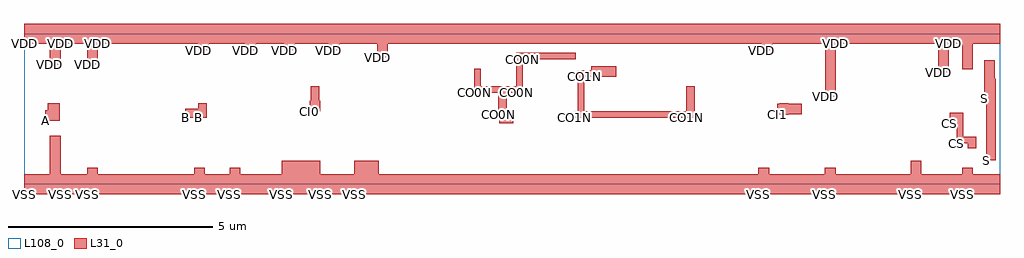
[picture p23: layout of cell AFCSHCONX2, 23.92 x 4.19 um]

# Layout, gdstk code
import gdstk
lib = gdstk.Library(unit=1e-6, precision=1e-09)
def R(c, l, rs):  # rectangles x0, y0, x1, y1
    for r in rs: c.add(gdstk.rectangle(r[:2], r[2:], *l))
L31_0 = (31, 0)
L108_0 = (108, 0)

afcshconx2 = lib.new_cell('AFCSHCONX2')
R(afcshconx2, L31_0, [(0,-0.25,0.635,0.25), (0.635,-0.25,0.895,1.195), (0.895,-0.25,1.55,0.25), (1.55,-0.25,1.81,0.405), (1.81,-0.25,4.17,0.25), (4.17,-0.25,4.43,0.405), (4.43,-0.25,5.04,0.25), (5.04,-0.25,5.3,0.405), (5.3,-0.25,6.32,0.25), (6.32,-0.25,7.26,0.575), (7.26,-0.25,8.09,0.25), (8.09,-0.25,8.69,0.575), (8.69,-0.25,18,0.25), (18,-0.25,18.26,0.405), (18.26,-0.25,19.63,0.25), (19.63,-0.25,19.89,0.405), (19.89,-0.25,21.73,0.25), (21.73,-0.25,21.99,0.575), (21.99,-0.25,22.995,0.25), (22.995,-0.25,23.255,0.405), (23.255,-0.25,23.92,0.25), (23.585,0.595,23.795,3.045), (23.795,0.595,23.815,2.585), (23.125,0.88,23.335,1.17), (22.855,1.01,23.015,1.755), (23.015,1.01,23.125,1.17), (11.65,1.49,11.835,2.4), (11.835,1.49,11.985,1.65), (22.685,1.495,22.855,1.755), (0.515,1.555,0.585,1.815), (0.585,1.555,0.875,1.99), (13.48,1.63,13.57,1.79), (13.57,1.63,13.73,2.79), (13.73,1.63,16.225,1.79), (16.225,1.63,16.41,2.4), (3.955,1.635,4.265,1.85), (4.265,1.635,4.475,1.99), (11.625,1.7,11.65,2.4), (16.41,1.7,16.435,2.4), (18.525,1.7,18.735,1.99), (18.46,1.715,18.525,1.975), (18.735,1.715,19.06,1.975), (7,1.79,7.025,2.05), (7.025,1.79,7.235,2.4), (7.235,1.79,7.26,2.05), (23.535,2.105,23.585,3.045), (19.64,2.15,19.9,3.94), (11.04,2.24,11.2,2.83), (11.2,2.24,11.625,2.4), (11.835,2.24,12.06,2.4), (12.06,2.24,12.22,3.22), (13.73,2.63,13.905,2.79), (13.905,2.63,14.515,2.89), (22.41,2.745,22.67,3.94), (22.995,2.825,23.255,3.94), (0.635,2.935,0.895,3.94), (1.545,2.945,1.805,3.94), (12.22,3.06,13.52,3.22), (8.655,3.115,8.915,3.94), (4.27,3.285,4.53,3.94), (5.425,3.285,5.685,3.94), (6.375,3.285,6.635,3.94), (7.465,3.285,7.725,3.94), (18.08,3.285,18.34,3.94), (0,3.44,0.635,3.94), (0.895,3.44,1.545,3.94), (1.805,3.44,4.27,3.94), (4.53,3.44,5.425,3.94), (5.685,3.44,6.375,3.94), (6.635,3.44,7.465,3.94), (7.725,3.44,8.655,3.94), (8.915,3.44,18.08,3.94), (18.34,3.44,19.64,3.94), (19.9,3.44,22.41,3.94), (22.67,3.44,22.995,3.94), (23.255,3.44,23.92,3.94)])
R(afcshconx2, L108_0, [(0,0,23.92,3.69)])
afcshconx2.add(gdstk.Label('S', (23.535,2.105), layer=131, texttype=0))
afcshconx2.add(gdstk.Label('S', (23.585,0.595), layer=131, texttype=0))
afcshconx2.add(gdstk.Label('S', (23.795,0.595), layer=131, texttype=0))
afcshconx2.add(gdstk.Label('CS', (22.685,1.495), layer=131, texttype=0))
afcshconx2.add(gdstk.Label('CS', (22.855,1.01), layer=131, texttype=0))
afcshconx2.add(gdstk.Label('CS', (23.015,1.01), layer=131, texttype=0))
afcshconx2.add(gdstk.Label('CS', (23.125,0.88), layer=131, texttype=0))
afcshconx2.add(gdstk.Label('CO1N', (13.48,1.63), layer=131, texttype=0))
afcshconx2.add(gdstk.Label('CO1N', (13.57,1.63), layer=131, texttype=0))
afcshconx2.add(gdstk.Label('CO1N', (13.73,2.63), layer=131, texttype=0))
afcshconx2.add(gdstk.Label('CO1N', (13.905,2.63), layer=131, texttype=0))
afcshconx2.add(gdstk.Label('CO1N', (13.73,1.63), layer=131, texttype=0))
afcshconx2.add(gdstk.Label('CO1N', (16.225,1.63), layer=131, texttype=0))
afcshconx2.add(gdstk.Label('CO1N', (16.41,1.7), layer=131, texttype=0))
afcshconx2.add(gdstk.Label('CO0N', (11.04,2.24), layer=131, texttype=0))
afcshconx2.add(gdstk.Label('CO0N', (11.2,2.24), layer=131, texttype=0))
afcshconx2.add(gdstk.Label('CO0N', (11.625,1.7), layer=131, texttype=0))
afcshconx2.add(gdstk.Label('CO0N', (11.65,1.49), layer=131, texttype=0))
afcshconx2.add(gdstk.Label('CO0N', (11.835,1.49), layer=131, texttype=0))
afcshconx2.add(gdstk.Label('CO0N', (11.835,2.24), layer=131, texttype=0))
afcshconx2.add(gdstk.Label('CO0N', (12.06,2.24), layer=131, texttype=0))
afcshconx2.add(gdstk.Label('CO0N', (12.22,3.06), layer=131, texttype=0))
afcshconx2.add(gdstk.Label('CI1', (18.46,1.715), layer=131, texttype=0))
afcshconx2.add(gdstk.Label('CI1', (18.525,1.7), layer=131, texttype=0))
afcshconx2.add(gdstk.Label('CI1', (18.735,1.715), layer=131, texttype=0))
afcshconx2.add(gdstk.Label('CI0', (7,1.79), layer=131, texttype=0))
afcshconx2.add(gdstk.Label('CI0', (7.025,1.79), layer=131, texttype=0))
afcshconx2.add(gdstk.Label('CI0', (7.235,1.79), layer=131, texttype=0))
afcshconx2.add(gdstk.Label('B', (3.955,1.635), layer=131, texttype=0))
afcshconx2.add(gdstk.Label('B', (4.265,1.635), layer=131, texttype=0))
afcshconx2.add(gdstk.Label('A', (0.515,1.555), layer=131, texttype=0))
afcshconx2.add(gdstk.Label('A', (0.585,1.555), layer=131, texttype=0))
afcshconx2.add(gdstk.Label('VSS', (0,-0.25), layer=131, texttype=0))
afcshconx2.add(gdstk.Label('VSS', (0.635,-0.25), layer=131, texttype=0))
afcshconx2.add(gdstk.Label('VSS', (0.895,-0.25), layer=131, texttype=0))
afcshconx2.add(gdstk.Label('VSS', (1.55,-0.25), layer=131, texttype=0))
afcshconx2.add(gdstk.Label('VSS', (1.81,-0.25), layer=131, texttype=0))
afcshconx2.add(gdstk.Label('VSS', (4.17,-0.25), layer=131, texttype=0))
afcshconx2.add(gdstk.Label('VSS', (4.43,-0.25), layer=131, texttype=0))
afcshconx2.add(gdstk.Label('VSS', (5.04,-0.25), layer=131, texttype=0))
afcshconx2.add(gdstk.Label('VSS', (5.3,-0.25), layer=131, texttype=0))
afcshconx2.add(gdstk.Label('VSS', (6.32,-0.25), layer=131, texttype=0))
afcshconx2.add(gdstk.Label('VSS', (7.26,-0.25), layer=131, texttype=0))
afcshconx2.add(gdstk.Label('VSS', (8.09,-0.25), layer=131, texttype=0))
afcshconx2.add(gdstk.Label('VSS', (8.69,-0.25), layer=131, texttype=0))
afcshconx2.add(gdstk.Label('VSS', (18,-0.25), layer=131, texttype=0))
afcshconx2.add(gdstk.Label('VSS', (18.26,-0.25), layer=131, texttype=0))
afcshconx2.add(gdstk.Label('VSS', (19.63,-0.25), layer=131, texttype=0))
afcshconx2.add(gdstk.Label('VSS', (19.89,-0.25), layer=131, texttype=0))
afcshconx2.add(gdstk.Label('VSS', (21.73,-0.25), layer=131, texttype=0))
afcshconx2.add(gdstk.Label('VSS', (21.99,-0.25), layer=131, texttype=0))
afcshconx2.add(gdstk.Label('VSS', (22.995,-0.25), layer=131, texttype=0))
afcshconx2.add(gdstk.Label('VSS', (23.255,-0.25), layer=131, texttype=0))
afcshconx2.add(gdstk.Label('VDD', (0,3.44), layer=131, texttype=0))
afcshconx2.add(gdstk.Label('VDD', (0.635,2.935), layer=131, texttype=0))
afcshconx2.add(gdstk.Label('VDD', (0.895,3.44), layer=131, texttype=0))
afcshconx2.add(gdstk.Label('VDD', (1.545,2.945), layer=131, texttype=0))
afcshconx2.add(gdstk.Label('VDD', (1.805,3.44), layer=131, texttype=0))
afcshconx2.add(gdstk.Label('VDD', (4.27,3.285), layer=131, texttype=0))
afcshconx2.add(gdstk.Label('VDD', (4.53,3.44), layer=131, texttype=0))
afcshconx2.add(gdstk.Label('VDD', (5.425,3.285), layer=131, texttype=0))
afcshconx2.add(gdstk.Label('VDD', (5.685,3.44), layer=131, texttype=0))
afcshconx2.add(gdstk.Label('VDD', (6.375,3.285), layer=131, texttype=0))
afcshconx2.add(gdstk.Label('VDD', (6.635,3.44), layer=131, texttype=0))
afcshconx2.add(gdstk.Label('VDD', (7.465,3.285), layer=131, texttype=0))
afcshconx2.add(gdstk.Label('VDD', (7.725,3.44), layer=131, texttype=0))
afcshconx2.add(gdstk.Label('VDD', (8.655,3.115), layer=131, texttype=0))
afcshconx2.add(gdstk.Label('VDD', (8.915,3.44), layer=131, texttype=0))
afcshconx2.add(gdstk.Label('VDD', (18.08,3.285), layer=131, texttype=0))
afcshconx2.add(gdstk.Label('VDD', (18.34,3.44), layer=131, texttype=0))
afcshconx2.add(gdstk.Label('VDD', (19.64,2.15), layer=131, texttype=0))
afcshconx2.add(gdstk.Label('VDD', (19.9,3.44), layer=131, texttype=0))
afcshconx2.add(gdstk.Label('VDD', (22.41,2.745), layer=131, texttype=0))
afcshconx2.add(gdstk.Label('VDD', (22.67,3.44), layer=131, texttype=0))
afcshconx2.add(gdstk.Label('VDD', (22.995,2.825), layer=131, texttype=0))
afcshconx2.add(gdstk.Label('VDD', (23.255,3.44), layer=131, texttype=0))

lib.write_gds('AFCSHCONX2.gds')
